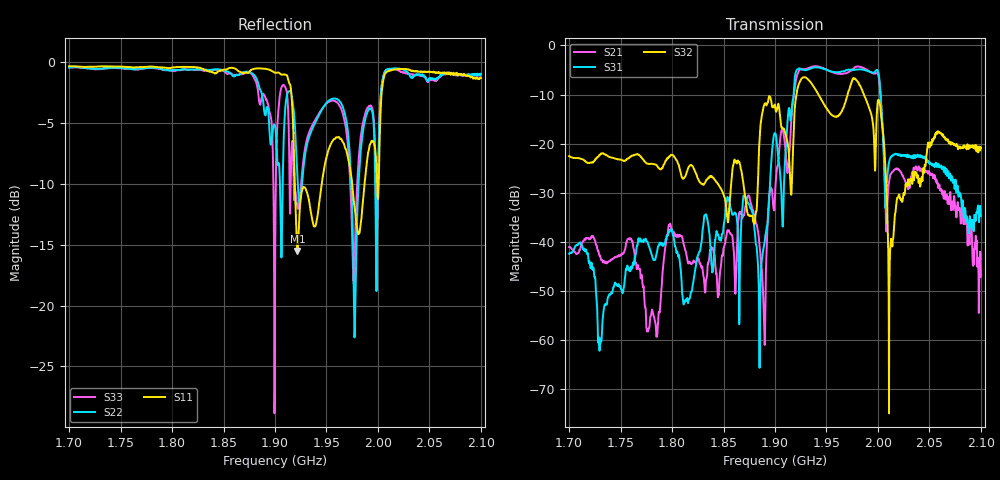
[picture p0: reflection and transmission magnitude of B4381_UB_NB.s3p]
! Matrix data file written by TouchstoneData, EPCOS AG
! FILENAME: "newformat_LY67A_Filter1_1_NB.s3p"
! COMMENT: "(LY67A_Filter1_1_NB.s3p) Epcos AG 17.01.2012"
! INFO: nport=3, nfreq=1601
! DATE: "Wed Feb  8 11:19:37 2012"
! USER: "Michael Schemies"
! port | pin | signal
!  1  |  1  |  in
!  2  |  8  |  out
!  3  |  9  |  out
# MHZ S MA R 50
! freq  magS11 angS11  magS12 angS12  magS13 angS13  ...
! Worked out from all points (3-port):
!   1601 points, 1.7 GHz to 2.1 GHz, reference 50 ohm
!   strongest paths, dB at 1.7 GHz, 1.8 GHz, 1.9 GHz, 2 GHz, 2.1 GHz:
!     S32: -22.5, -22.3, -12.3, -11.2, -20.8
!     S31: -42.4, -37.7, -17.9, -5.2, -34.7
!     S21: -41.0, -37.4, -30.7, -5.8, -47.1
!   lowest |S11| = -15.5 dB at 1.922 GHz (marker M1), VSWR 1.40, Z = 35.9 + j2.92 ohm
!   |S11| at or under -10 dB: 1.919 GHz to 1.945 GHz (26.2 MHz wide, 1.36 % of centre); 1.975 GHz to 1.987 GHz (12 MHz wide, 0.606 % of centre); 1.999287 GHz to 2.000722 GHz (1.435 MHz wide, 0.0717 % of centre)
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1700  0.9632 -92.4  0.008875 15.1  0.007603 16.0
      0.008885 15.1  0.9525 -79.6  0.07486 12.4
      0.007597 16.1  0.07477 12.5  0.9513 -80.3
1784.75  0.9551 -101.4  0.001109 78.2  0.007493 33.7
         0.001114 77.9  0.9473 -87.2  0.06103 9.1
         0.007472 33.7  0.06088 9.3  0.9436 -88.6
1871  0.9054 -121.6  0.02254 -176.3  0.0296 6.0
      0.0225 -176.2  0.9139 -107.4  0.02893 17.0
      0.02951 6.0  0.02893 16.9  0.9056 -110.6
1885.25  0.9433 -130.7  0.008551 102.9  0.001265 74.5
         0.008564 102.9  0.7787 -126.6  0.1237 172.8
         0.001267 75.2  0.1236 172.9  0.6727 -126.6
1900  0.9059 -148.0  0.02913 -93.0  0.1275 41.2
      0.02917 -92.8  0.5476 -130.5  0.2445 34.8
      0.1273 41.0  0.244 34.8  0.1187 -46.1
1921.75  0.1678 166.4  0.5063 -171.3  0.5706 2.4
         0.5063 -171.3  0.3403 123.2  0.3592 104.1
         0.5705 2.4  0.3587 104.1  0.2547 97.9
1963.25  0.4843 -92.1  0.5132 3.3  0.5358 179.0
         0.5128 3.3  0.6873 -91.0  0.2004 -137.3
         0.5361 179.0  0.2004 -137.1  0.6575 -94.9
2001.25  0.3943 31.5  0.4399 163.6  0.4689 -16.0
         0.4406 163.5  0.5364 5.5  0.2704 -24.7
         0.4693 -16.0  0.2702 -24.6  0.5082 3.2
2012  0.9261 -24.0  0.04835 -130.7  0.07198 51.0
      0.04831 -130.5  0.9408 -42.1  0.008735 10.0
      0.07186 51.1  0.00873 10.2  0.9383 -43.9
2100  0.8626 -74.5  0.004423 -41.7  0.01834 36.5
      0.004437 -41.7  0.8961 -72.1  0.091 25.5
      0.01835 36.6  0.091 25.5  0.8926 -73.4
